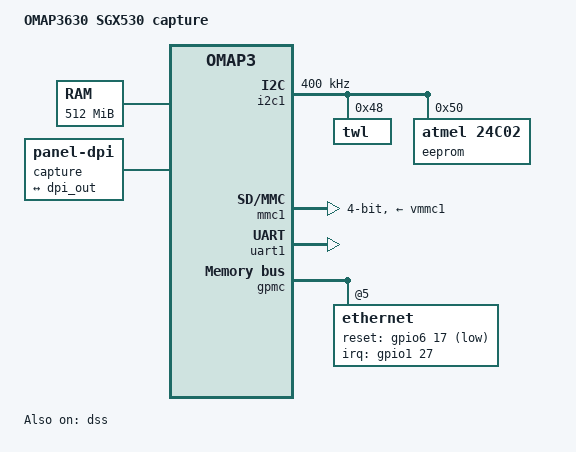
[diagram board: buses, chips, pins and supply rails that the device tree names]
// SPDX-License-Identifier: GPL-2.0
// Trimmed OMAP3630 (DM3730-class) DT for the SGX530 vendor capture, built in the
// openpvrsgx 6.0-rc7 tree. Derived from the board's own 7.1.8 DT, cut to what an
// capture needs: memory, a fixed DPI panel for omapdrm, the GPMC LAN9220 (smsc911x) for netconsole,
// twl4030 (board power rails) and a console UART. The SoC GPU node comes from
// omap36xx.dtsi. The board's custom nodes (IO-MCU, audio, HDMI, display, SD) are
// left out so it compiles against mainline 6.0.
//
// Not omap3-beagle-xm: its ethernet is USB (smsc95xx); this board's is a LAN9220
// on GPMC CS5, which is the netconsole NIC. Memory is 512 MB on both.
//
// Thermal: the capture runs seconds from a cold board, below the omap3 cpu
// thermal trip, so the mainline thermal zone is left as-is (no override).

/dts-v1/;

#include "omap36xx.dtsi"

/ {
	model = "OMAP3630 SGX530 capture";
	compatible = "ti,omap3630", "ti,omap3";

	chosen {
		stdout-path = "serial0:115200n8";
		/* console= and netconsole= are added on the kernel cmdline */
	};

	memory@80000000 {
		device_type = "memory";
		reg = <0x80000000 0x20000000>; /* 512 MB */
	};

	/* A fixed 640x480 DPI panel so omapdrm has an always-connected output and the
	 * vendor EGL's KMS window system can initialise. Nothing needs to be on the
	 * pins: the render capture reads pixels back, it does not look at a screen. */
	panel {
		compatible = "panel-dpi";
		label = "capture";

		port {
			panel_in: endpoint {
				remote-endpoint = <&dpi_out>;
			};
		};

		panel-timing {
			clock-frequency = <25175000>;
			hactive = <640>;
			vactive = <480>;
			hfront-porch = <16>;
			hback-porch = <48>;
			hsync-len = <96>;
			vfront-porch = <10>;
			vback-porch = <33>;
			vsync-len = <2>;
			hsync-active = <0>;
			vsync-active = <0>;
			de-active = <1>;
			pixelclk-active = <1>;
		};
	};
};

&dss {
	vdds_dsi-supply = <&vpll2>;
	status = "okay";

	port {
		dpi_out: endpoint {
			remote-endpoint = <&panel_in>;
			data-lines = <24>;
		};
	};
};

/* twl4030 PMIC: the board power rails must come up for the GPU module to clock. */
&i2c1 {
	clock-frequency = <400000>;

	twl: twl@48 {
		reg = <0x48>;
		interrupts = <7>;		/* SYS_NIRQ */
		interrupt-parent = <&intc>;
	};

	/* Boot-try EEPROM: lets the capture boot re-arm the SD boot itself. */
	eeprom@50 {
		compatible = "atmel,24c02";
		reg = <0x50>;
		pagesize = <8>;
	};
};

/* Interior SD: lets the capture boot put the normal SD image back. */
&mmc1 {
	vmmc-supply = <&vmmc1>;
	bus-width = <4>;
	broken-cd;
};

&mmc2 {
	status = "disabled";
};

#include "twl4030.dtsi"
#include "twl4030_omap3.dtsi"

&uart1 {
	status = "okay";
};

/* LAN9220 on GPMC CS5 — the netconsole NIC. Timings from omap-gpmc-smsc911x.dtsi. */
&gpmc {
	ranges = <5 0 0x2c000000 0x01000000>;	/* CS5: LAN9220 */

	ethernet@gpmc {
		reg = <5 0 0xff>;
		interrupt-parent = <&gpio1>;
		interrupts = <27 IRQ_TYPE_LEVEL_LOW>;		/* gpio27 */
		reset-gpios = <&gpio6 17 GPIO_ACTIVE_LOW>;	/* gpio177 */
	};
};

#include "omap-gpmc-smsc911x.dtsi"

/* 6.0's omap3-cpu-thermal already defines the cpu_crit trip (90 C); raise it to
 * 105 C so the bandgap TSHUT does not power the board off mid-capture (the
 * openHC #172 fix). Override the existing trip, don't add a duplicate. */
&cpu_crit {
	temperature = <105000>;
};
